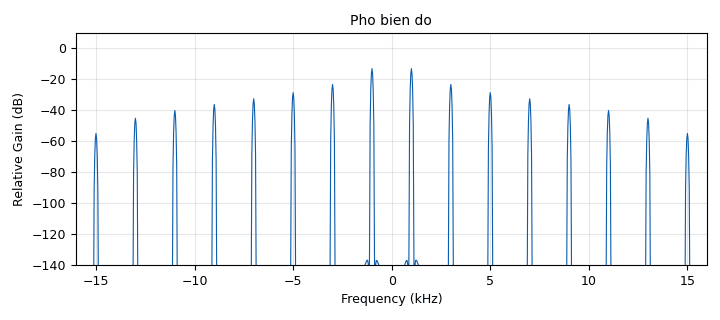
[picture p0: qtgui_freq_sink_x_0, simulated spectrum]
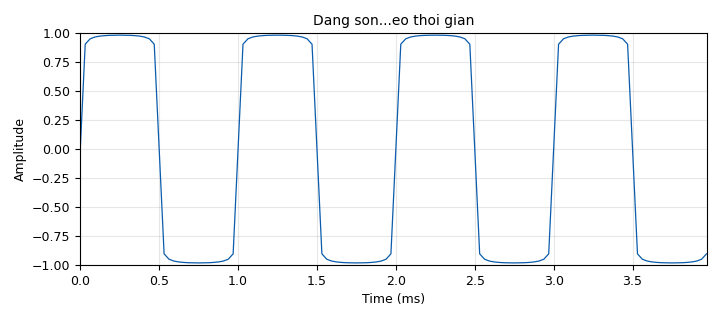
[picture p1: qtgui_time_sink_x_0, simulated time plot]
options:
  parameters:
    generate_options: qt_gui
    id: untitled
    output_language: python
    title: Not titled yet
  states: {}

blocks:
- name: samp_rate
  id: variable
  parameters:
    value: '32000'
  states: {}
- name: blocks_throttle2_0
  id: blocks_throttle2
  parameters:
    samples_per_second: samp_rate
    type: float
  states: {}
- name: epy_block_0
  id: epy_block
  parameters:
    _source_code: |-
      """
      Embedded Python Blocks:

      Each time this file is saved, GRC will instantiate the first class it finds
      to get ports and parameters of your block. The arguments to __init__  will
      be the parameters. All of them are required to have default values!
      """

      import numpy as np
      from gnuradio import gr

      class SquareSynth(gr.sync_block):
          """
          Khoi nguon tong hop song vuong bang chuoi Fourier:
          x(t) = amplitude * (4 / pi) * SUM [ (1 / k) * sin(2 * pi * k * f0 * t) ]
          voi k chay cac so le: 1, 3, 5, ..., k_max
          """
          def __init__(self, samp_rate=32000.0, f0=1000.0, k_max=5, amplitude=1.0):
              gr.sync_block.__init__(
                  self,
                  name='Square Synth',
                  in_sig=None,                     # Khoi nguon (Source) khong co dau vao
                  out_sig=[np.float32]             # Dau ra tin hieu thuc kieu float
              )
              self.samp_rate = float(samp_rate)
              self.f0 = float(f0)
              self.k_max = int(k_max)
              self.amplitude = float(amplitude)
              
              # Bien luu vi tri mau thoi gian t de tin hieu lien tuc giua cac goi mau
              self.n = 0

              # Kiem tra dieu kien tan so Nyquist
              nyquist_limit = self.samp_rate / 2.0
              if self.k_max * self.f0 >= nyquist_limit:
                  k_valid_max = int((nyquist_limit - 1) // self.f0)
                  if k_valid_max % 2 == 0:
                      k_valid_max -= 1
                  print(f"\n[CANH BAO NYQUIST]: k_max * f0 ({self.k_max * self.f0} Hz) >= samp_rate / 2 ({nyquist_limit} Hz)!")
                  print(f"--> Gia tri k_max lon nhat hop le de tranh chong pho: {k_valid_max}\n")

          def work(self, input_items, output_items):
              out = output_items[0]
              n_samples = len(out)

              # Tao truc thoi gian t cho block mau hien tai
              t = (self.n + np.arange(n_samples)) / self.samp_rate
              
              # Khoi tao mang gia tri 0
              signal = np.zeros(n_samples, dtype=np.float32)

              # Cong chuoi Fourier cac song hai bac le: 1, 3, 5, ..., k_max
              for k in range(1, self.k_max + 1, 2):
                  signal += (1.0 / k) * np.sin(2.0 * np.pi * k * self.f0 * t)

              # Nhan he so (4/pi) cua song vuong va bien do amplitude
              signal = signal * (4.0 / np.pi) * self.amplitude

              out[:] = signal
              self.n += n_samples  # Cap nhat tong so mau da phat
              return len(out)
    amplitude: '1'
    f0: '1000'
    k_max: '31'
    samp_rate: samp_rate
  states: {}
- name: qtgui_freq_sink_x_0
  id: qtgui_freq_sink_x
  parameters:
    bw: samp_rate
    fc: '0'
    fftsize: '1024'
    name: '"Pho bien do"'
    type: float
  states: {}
- name: qtgui_time_sink_x_0
  id: qtgui_time_sink_x
  parameters:
    name: '"Dang son...eo thoi gian"'
    size: '128'
    srate: samp_rate
    type: float
  states: {}

connections:
- [blocks_throttle2_0, '0', qtgui_freq_sink_x_0, '0']
- [blocks_throttle2_0, '0', qtgui_time_sink_x_0, '0']
- [epy_block_0, '0', blocks_throttle2_0, '0']

metadata:
  file_format: 1
  grc_version: 3.10.12.0
